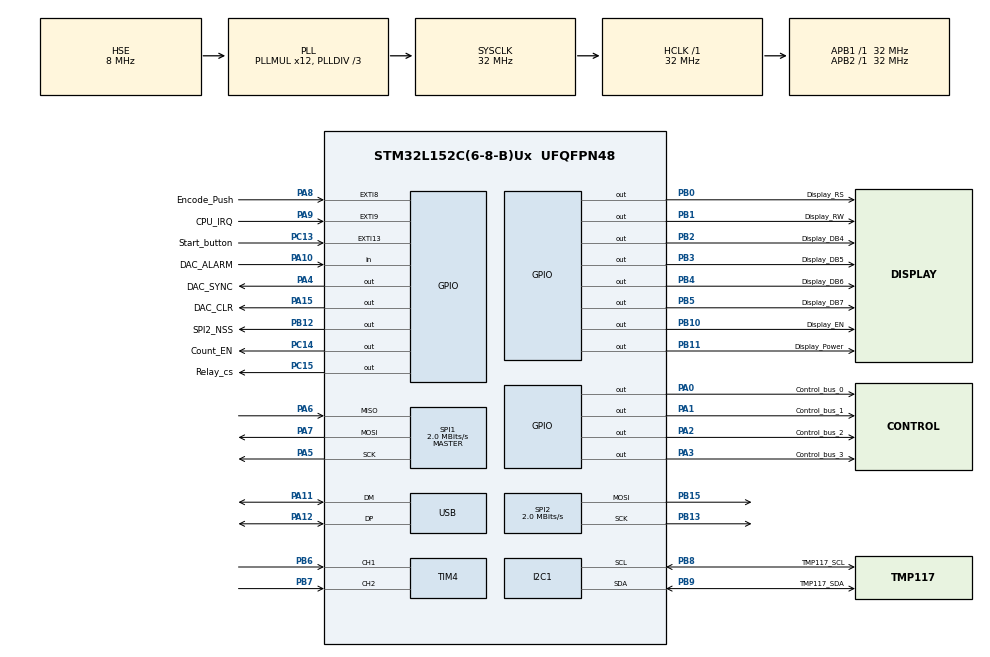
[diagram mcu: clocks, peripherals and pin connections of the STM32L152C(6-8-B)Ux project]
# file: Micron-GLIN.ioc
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Mcu.Family=STM32L1
Mcu.Name=STM32L152C(6-8-B)Ux
Mcu.Package=UFQFPN48
NVIC.EXTI15_10_IRQn=true\:1\:0\:true\:false\:true\:true\:true\:true
NVIC.EXTI9_5_IRQn=true\:0\:0\:true\:true\:true\:1\:true\:true\:true
NVIC.PriorityGroup=NVIC_PRIORITYGROUP_4
NVIC.SPI1_IRQn=true\:1\:0\:true\:false\:true\:true\:true\:true
NVIC.TIM2_IRQn=true\:1\:0\:true\:false\:true\:true\:true\:true
NVIC.TIM3_IRQn=true\:1\:0\:true\:false\:true\:true\:true\:true
NVIC.USB_LP_IRQn=true\:1\:0\:true\:false\:true\:false\:true\:true
PA0-WKUP1.GPIO_Label=Control_bus_0
PA0-WKUP1.GPIO_Speed=GPIO_SPEED_FREQ_VERY_HIGH
PA0-WKUP1.PinState=GPIO_PIN_SET
PA0-WKUP1.Signal=GPIO_Output
PA1.GPIO_Label=Control_bus_1
PA1.GPIO_Speed=GPIO_SPEED_FREQ_VERY_HIGH
PA1.PinState=GPIO_PIN_SET
PA1.Signal=GPIO_Output
PA10.GPIO_Label=DAC_ALARM
PA10.GPIO_PuPd=GPIO_PULLUP
PA10.Signal=GPIO_Input
PA11.Mode=Device
PA11.Signal=USB_DM
PA12.Mode=Device
PA12.Signal=USB_DP
PA13.Mode=Serial_Wire
PA13.Signal=SYS_JTMS-SWDIO
PA14.Mode=Serial_Wire
PA14.Signal=SYS_JTCK-SWCLK
PA15.GPIO_Label=DAC_CLR
PA15.GPIO_Speed=GPIO_SPEED_FREQ_VERY_HIGH
PA15.PinState=GPIO_PIN_SET
PA15.Signal=GPIO_Output
PA2.GPIO_Label=Control_bus_2
PA2.GPIO_Speed=GPIO_SPEED_FREQ_VERY_HIGH
PA2.PinState=GPIO_PIN_SET
PA2.Signal=GPIO_Output
PA3.GPIO_Label=Control_bus_3
PA3.GPIO_Speed=GPIO_SPEED_FREQ_VERY_HIGH
PA3.PinState=GPIO_PIN_SET
PA3.Signal=GPIO_Output
PA4.GPIO_Label=DAC_SYNC
PA4.GPIO_PuPd=GPIO_PULLUP
PA4.GPIO_Speed=GPIO_SPEED_FREQ_VERY_HIGH
PA4.PinState=GPIO_PIN_SET
PA4.Signal=GPIO_Output
PA5.GPIO_Mode=GPIO_MODE_AF_PP
PA5.GPIO_PuPd=GPIO_NOPULL
PA5.GPIO_Speed=GPIO_SPEED_FREQ_VERY_HIGH
PA5.Mode=Full_Duplex_Master
PA5.Signal=SPI1_SCK
PA6.Mode=Full_Duplex_Master
PA6.Signal=SPI1_MISO
PA7.Mode=Full_Duplex_Master
PA7.Signal=SPI1_MOSI
PA8.GPIO_Label=Encode_Push
PA8.GPIO_ModeDefaultEXTI=GPIO_MODE_IT_FALLING
PA8.GPIO_PuPd=GPIO_PULLUP
PA8.Signal=GPXTI8
PA9.GPIO_Label=CPU_IRQ
PA9.Signal=GPXTI9
PB0.GPIO_Label=Display_RS
PB0.GPIO_Speed=GPIO_SPEED_FREQ_HIGH
PB0.PinState=GPIO_PIN_RESET
PB0.Signal=GPIO_Output
PB1.GPIO_Label=Display_RW
PB1.GPIO_ModeDefaultOutputPP=GPIO_MODE_OUTPUT_OD
PB1.GPIO_PuPd=GPIO_NOPULL
PB1.GPIO_Speed=GPIO_SPEED_FREQ_HIGH
PB1.PinState=GPIO_PIN_SET
PB1.Signal=GPIO_Output
PB10.GPIO_Label=Display_EN
PB10.GPIO_ModeDefaultOutputPP=GPIO_MODE_OUTPUT_OD
PB10.GPIO_PuPd=GPIO_NOPULL
PB10.GPIO_Speed=GPIO_SPEED_FREQ_HIGH
PB10.PinState=GPIO_PIN_SET
PB10.Signal=GPIO_Output
PB11.GPIO_Label=Display_Power
PB11.GPIO_ModeDefaultOutputPP=GPIO_MODE_OUTPUT_OD
PB11.GPIO_PuPd=GPIO_NOPULL
PB11.GPIO_Speed=GPIO_SPEED_FREQ_HIGH
PB11.PinState=GPIO_PIN_RESET
PB11.Signal=GPIO_Output
PB12.GPIO_Label=SPI2_NSS
PB12.GPIO_Speed=GPIO_SPEED_FREQ_VERY_HIGH
PB12.PinState=GPIO_PIN_SET
PB12.Signal=GPIO_Output
PB13.Mode=TX_Only_Simplex_Unidirect_Master
PB13.Signal=SPI2_SCK
PB15.Mode=TX_Only_Simplex_Unidirect_Master
PB15.Signal=SPI2_MOSI
PB2.GPIO_Label=Display_DB4
PB2.GPIO_ModeDefaultOutputPP=GPIO_MODE_OUTPUT_OD
PB2.GPIO_PuPd=GPIO_NOPULL
PB2.GPIO_Speed=GPIO_SPEED_FREQ_HIGH
PB2.PinState=GPIO_PIN_SET
PB2.Signal=GPIO_Output
PB3.GPIO_Label=Display_DB5
PB3.GPIO_ModeDefaultOutputPP=GPIO_MODE_OUTPUT_OD
PB3.GPIO_PuPd=GPIO_NOPULL
PB3.GPIO_Speed=GPIO_SPEED_FREQ_HIGH
PB3.PinState=GPIO_PIN_SET
PB3.Signal=GPIO_Output
PB4.GPIO_Label=Display_DB6
PB4.GPIO_ModeDefaultOutputPP=GPIO_MODE_OUTPUT_OD
PB4.GPIO_PuPd=GPIO_NOPULL
PB4.GPIO_Speed=GPIO_SPEED_FREQ_HIGH
PB4.PinState=GPIO_PIN_SET
PB4.Signal=GPIO_Output
PB5.GPIO_Label=Display_DB7
PB5.GPIO_ModeDefaultOutputPP=GPIO_MODE_OUTPUT_OD
PB5.GPIO_PuPd=GPIO_NOPULL
PB5.GPIO_Speed=GPIO_SPEED_FREQ_HIGH
PB5.PinState=GPIO_PIN_SET
PB5.Signal=GPIO_Output
PB6.Signal=S_TIM4_CH1
PB7.Signal=S_TIM4_CH2
PB8.GPIO_Label=TMP117_SCL
PB8.GPIO_Pu=GPIO_PULLUP
PB8.Mode=I2C
PB8.Signal=I2C1_SCL
PB9.GPIO_Label=TMP117_SDA
PB9.GPIO_Pu=GPIO_PULLUP
PB9.Mode=I2C
PB9.Signal=I2C1_SDA
PC13-WKUP2.GPIO_Label=Start_button
PC13-WKUP2.GPIO_ModeDefaultEXTI=GPIO_MODE_IT_FALLING
PC13-WKUP2.GPIO_PuPd=GPIO_PULLUP
PC13-WKUP2.Signal=GPXTI13
PC14-OSC32_IN.GPIO_Label=Count_EN
PC14-OSC32_IN.GPIO_Speed=GPIO_SPEED_FREQ_HIGH
PC14-OSC32_IN.PinState=GPIO_PIN_RESET
PC14-OSC32_IN.Signal=GPIO_Output
PC15-OSC32_OUT.GPIO_Label=Relay_cs
PC15-OSC32_OUT.GPIO_Speed=GPIO_SPEED_FREQ_VERY_HIGH
PC15-OSC32_OUT.PinState=GPIO_PIN_SET
PC15-OSC32_OUT.Signal=GPIO_Output
PH0-OSC_IN.Mode=HSE-External-Oscillator
PH0-OSC_IN.Signal=RCC_OSC_IN
PH1-OSC_OUT.Mode=HSE-External-Oscillator
PH1-OSC_OUT.Signal=RCC_OSC_OUT
ProjectManager.HeapSize=0x1000
ProjectManager.StackSize=0xC00
ProjectManager.TargetToolchain=STM32CubeIDE
RCC.48MHZClocksFreq_Value=48000000
RCC.AHBFreq_Value=32000000
RCC.APB1Freq_Value=32000000
RCC.APB1TimFreq_Value=32000000
RCC.APB2Freq_Value=32000000
RCC.APB2TimFreq_Value=32000000
RCC.HCLKFreq_Value=32000000
RCC.HSE_Timout=100
RCC.HSE_VALUE=8000000
RCC.HSI_VALUE=16000000
RCC.LSE_VALUE=32768
RCC.MSI_VALUE=2097000
RCC.PLLDIV=RCC_PLL_DIV3
RCC.PLLMUL=RCC_PLL_MUL12
RCC.SYSCLKFreq_VALUE=32000000
RCC.SYSCLKSource=RCC_SYSCLKSOURCE_PLLCLK
RCC.VCOOutputFreq_Value=96000000
SH.S_TIM4_CH1.0=TIM4_CH1,Encoder_Interface
SH.S_TIM4_CH2.0=TIM4_CH2,Encoder_Interface
SPI1.BaudRatePrescaler=SPI_BAUDRATEPRESCALER_16
SPI1.CLKPhase=SPI_PHASE_2EDGE
SPI1.CalculateBaudRate=2.0 MBits/s
SPI1.DataSize=SPI_DATASIZE_16BIT
SPI1.Direction=SPI_DIRECTION_2LINES
SPI1.Mode=SPI_MODE_MASTER
SPI1.VirtualType=VM_MASTER
SPI2.BaudRatePrescaler=SPI_BAUDRATEPRESCALER_16
SPI2.CLKPhase=SPI_PHASE_2EDGE
SPI2.CalculateBaudRate=2.0 MBits/s
SPI2.DataSize=SPI_DATASIZE_16BIT
SPI2.Direction=SPI_DIRECTION_2LINES
SPI2.Mode=SPI_MODE_MASTER
SPI2.VirtualType=VM_MASTER
TIM2.Period=50 - 1
TIM2.Prescaler=32000 -1
TIM3.Period=500 -1
TIM3.Prescaler=32000 -1
TIM4.CounterMode=TIM_COUNTERMODE_UP
TIM4.EncoderMode=TIM_ENCODERMODE_TI1
TIM4.IC1Polarity=TIM_ICPOLARITY_RISING
TIM4.IC2Polarity=TIM_ICPOLARITY_FALLING
USB_DEVICE.APP_RX_DATA_SIZE=128
USB_DEVICE.APP_TX_DATA_SIZE=256
USB_DEVICE.CLASS_NAME_FS=CDC
USB_DEVICE.MANUFACTURER_STRING=Micron Service
USB_DEVICE.PRODUCT_STRING_CDC_FS=MicronGLIN
USB_DEVICE.USBD_SELF_POWERED=1
USB_DEVICE.VirtualMode=Cdc
USB_DEVICE.VirtualModeFS=Cdc_FS
VP_TIM2_VS_ClockSourceINT.Mode=Internal
VP_TIM3_VS_ClockSourceINT.Mode=Internal
VP_USB_DEVICE_VS_USB_DEVICE_CDC_FS.Mode=CDC_FS
board=custom

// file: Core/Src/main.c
/* USER CODE BEGIN Header */
/**
 ******************************************************************************
 * @file           : main.c
 * @brief          : Main program body
 ******************************************************************************
 * @attention
 *
 * Copyright (c) 2022 STMicroelectronics.
 * All rights reserved.
 *
 * This software is licensed under terms that can be found in the LICENSE file
 * in the root directory of this software component.
 * If no LICENSE file comes with this software, it is provided AS-IS.
 *
 ******************************************************************************
 */
/* USER CODE END Header */
#include "main.h"
#include "i2c.h"
#include "spi.h"
#include "tim.h"
#include "usb_device.h"
#include "gpio.h"

/* USER CODE BEGIN Includes */

#include <stdio.h>
#include <string.h>

#include "display.h"
#include "tmp117.h"
#include "circular_buffer.h"
#include "function.h"

/* USER CODE END Includes */

/* USER CODE BEGIN PV */

char myLCDstr[32];
//float temperature=10.23;
uint16_t tmpx;

extern uint8_t CDC_Transmit_FS(uint8_t*, uint16_t);
extern void DDS_Init(void);
extern void DDS_Update(void);
extern void DDS_Calculation();
extern void DAC_SendInit(void);
extern void DAC_TEMP_CAL(void);
extern void DAC_Write(uint32_t);
extern void DAC_Write_FAST(void);

extern void Relay_control(uint8_t,uint8_t);
extern void CPLD_control(uint8_t);

extern volatile FunctionalState USB_CDC_End_Line_Received;

extern uint8_t command_buffer[command_buffer_len];

extern float cal_DAC_up_voltage;
extern float cal_DAC_down_voltage;
extern float corr_coeff_1;
extern float corr_coeff_2;
extern float corr_coeff_3;
extern float gain_x2_coeff;
extern float gain_x4_coeff;

extern float C_value[C_value_max_count];
extern float C_leakage[C_value_max_count];

char large_string_buffer[command_buffer_len];

uint8_t eta_hours,eta_minute,eta_second;

int16_t Enc_Counter = 0;
uint32_t Display_timeout=0;

int16_t Need_DAC_TEMP_CAL=0;

CIRC_GBUF_DEF(uint8_t, USB_rx_command_buffer, command_buffer_len);

uint32_t DAC_tx_buffer;
uint16_t DAC_tx_tmp_buffer[2];
DAC_CONFIG1 cfg;

uint8_t CPLD_WORD;
float DDS_FTW=0;
float DDS_target_frequecny;
float DAC_target_speed;
float amp_target_speed=1E-12;
float ramp_target_speed=0.1;
float amp_target_speed_maximum;
float amp_target_speed_minimum;

uint32_t DDS_target_multipiller=1;

uint8_t mode=dU_dt_SCREEN;

float Current_flow=1E-12;
uint8_t C_ref=0;
float Voltage;

float DDS_clock_frequecny=1E7;
float DAC_fullrange_voltage;
float cal_DAC_up_voltage;
float cal_DAC_down_voltage;

uint8_t Current_output_status;

uint32_t DAC_code=0x0;
uint8_t DAC_code_direction;
FunctionalState DAC_code_direction_for_cycle_mode;

FunctionalState Display_need_wakeup=1;
FunctionalState Display_status=0;
FunctionalState Need_update_Display=0;
FunctionalState Need_update_DDS=0;
FunctionalState Ramp_dac_step_complete=0;
FunctionalState CAL_STATE=LOCK_STATE;
FunctionalState Need_off_output=0;
uint8_t Push_start_button=0;
uint8_t Push_Encode_button=0;
uint8_t Hold_start_button=0;

/* USER CODE END PV */

void SystemClock_Config(void);
static void MX_NVIC_Init(void);
/* USER CODE BEGIN PFP */

void Parsing_USB_command(void);

/* USER CODE END PFP */

int main(void)
{
  /* USER CODE BEGIN 1 */
	cfg.PDN=0; // DAC power up
	cfg.VREFVAL=0x08; // 20 V ± 1.25 V
	cfg.FSET=1; // Enhanced THD
	cfg.DSDO=1; // SDO enabled
	cfg.ENALMP=0; // Indicates end of temperature calibration cycle. ALARM pin pulled low
	cfg.FSDO=0; // Fast SDO disabled
	cfg.LDACMODE=0; // DAC *NOT* updated on LDAC !!!!falling edge!!!!
	cfg.TNH_MASK=0x00; // This bit is writable only when FSET = 0
	cfg.EN_TMP_CAL=0; // Temperature calibration feature enabled

	DAC_target_speed=0.1; //  V/s
	DAC_code=DAC_CODE_MIDDLE;
	DAC_code_direction=DIRECTION_UP_STATE;

  /* USER CODE END 1 */

  /* MCU Configuration--------------------------------------------------------*/

  /* Reset of all peripherals, Initializes the Flash interface and the Systick. */
  HAL_Init();

  /* Configure the system clock */
  SystemClock_Config();

  /* Initialize all configured peripherals */
  MX_GPIO_Init();
  MX_SPI1_Init();
  MX_SPI2_Init();
  MX_USB_DEVICE_Init();
  MX_TIM3_Init();
  MX_TIM4_Init();
  MX_I2C1_Init();
  MX_TIM2_Init();

  /* Initialize interrupts */
  MX_NVIC_Init();
  /* USER CODE BEGIN 2 */

	init_LCD();
	/*
  display_screen(Hello_SCREEN);
  LcdUpdate();
  LcdClear_massive();
  HAL_Delay(5000); //WarmUP

  display_screen(Warm_up_SCREEN);
  LcdUpdate();
  LcdClear_massive();
  HAL_Delay(12000); //WarmUP

  display_screen(Ready_SCREEN);
  LcdUpdate();
  LcdClear_massive();
  HAL_Delay(3000); //WarmUP
	 */

	load_data_from_EEPROM();
	TMP117_Initialization(hi2c1);
	DDS_Init();
	DAC_SendInit();
	DAC_Write(DAC_code);

	DAC_TEMP_CAL();

	HAL_TIM_Base_Start_IT(&htim3);
	HAL_TIM_Base_Start_IT(&htim2);
	HAL_TIM_Encoder_Start(&htim4, TIM_CHANNEL_ALL);

	output_state(Output_off_STATE);
	CPLD_control(CPLD_OFF_STATE);

	send_answer_to_CDC(CLEAR_TYPE_1);

	cmd_CAP_SET(C_ref);

  /* USER CODE END 2 */

  /* Infinite loop */
  /* USER CODE BEGIN WHILE */
	while (1)
	{
//----------------------------------------------------------------------------------------------------------

//----------------------------------------------------------------------------------------------------------
		if(USB_CDC_End_Line_Received)
		{
			uint8_t i=0,x=0;
			USB_CDC_End_Line_Received=0;
			while (1) {
				if (i>=command_buffer_len) break;
				if (CIRC_GBUF_POP(USB_rx_command_buffer,&command_buffer[i])) command_buffer[i]='\n';
				if (command_buffer[i]=='\n' || command_buffer[i]=='\r') break;
				i++;
			}
			i=0;
			x=0;
			while (command_buffer[i]!='\0' && i<command_buffer_len)
			{
				if (command_buffer[i]=='\177') // Backspace
				{
					if(x>0)x--;
				}
				else
				{
					command_buffer[x]=command_buffer[i];
					x++;
				}
				i++;
			}
			while (x<command_buffer_len)
			{
				command_buffer[x]='\0';
				x++;
			}
			command_buffer[command_buffer_len-1]='\0';

			Parsing_USB_command();
			if(Display_status==0)Display_need_wakeup=1;
		}
//----------------------------------------------------------------------------------------------------------

//----------------------------------------------------------------------------------------------------------
		if(Need_DAC_TEMP_CAL>=6000 && Current_output_status==Output_off_STATE) // Each 5 min, do DAC temperature calibration, if output is off
		{
			DAC_TEMP_CAL();
			Need_DAC_TEMP_CAL=0;
		}
//----------------------------------------------------------------------------------------------------------

//----------------------------------------------------------------------------------------------------------
		if(Need_update_DDS)
		{
			if(Ramp_dac_step_complete)
			{
				DDS_Update();
				Need_update_DDS=0;
				Ramp_dac_step_complete=0;
			}
			if(mode==AMP_SCREEN)
			{
				Recalculate_ramp_speed(AMP_SCREEN,amp_target_speed);
			}
			else
			{
				DDS_Calculation();
			}

		}
//----------------------------------------------------------------------------------------------------------

//----------------------------------------------------------------------------------------------------------
		if(Need_off_output==1)
		{
			Push_start_button=10;
			cmd_SWEEP_STOP();
			output_state(Output_off_STATE);
			Need_off_output=0;
		}
//----------------------------------------------------------------------------------------------------------

//----------------------------------------------------------------------------------------------------------

		if(Push_Encode_button>2 && Push_Encode_button<5)
		{
			mode++;
			if(mode>DIR_SELECT_SCREEN)
				mode=dU_dt_SCREEN;
			Push_Encode_button=5;
		}

		if(Push_start_button>2 && Push_start_button<10)
		{
			if(mode==VOLT_SCREEN)
			{
				if(Current_output_status==Output_off_STATE)
				{
					cmd_SET_OUTPUT_VOLTAGE(Voltage);
				}
				else
				{
					output_state(Output_off_STATE);
				}
			}
			else
			{
				if(cfg.LDACMODE==0)
				{
					cmd_SWEEP_START();
				}
				else
				{
					cmd_SWEEP_STOP();
				}
			}
			Push_start_button=10;
		}
//----------------------------------------------------------------------------------------------------------

//----------------------------------------------------------------------------------------------------------
		if(Need_update_Display && Display_status)
		{
			switch(mode)
			{
			//----------------------------------------------------------//
			case dU_dt_SCREEN:
				display_screen(dU_dt_SCREEN);
			break;
			case AMP_SCREEN:
				display_screen(AMP_SCREEN);
			break;
			case VOLT_SCREEN:
				display_screen(VOLT_SCREEN);
			break;
			case DIR_SELECT_SCREEN:
				display_screen(DIR_SELECT_SCREEN);
			break;
			case CAP_SELECT_SCREEN:
				display_screen(CAP_SELECT_SCREEN);
			break;
			}
			LcdUpdate();
			LcdClear_massive();
		}
//----------------------------------------------------------------------------------------------------------

//----------------------------------------------------------------------------------------------------------
		if(Enc_Counter!=0)
		{
		switch(mode)
		{
		//----------------------------------------------------------//
		case dU_dt_SCREEN:
		{
			if(Enc_Counter>2 || Enc_Counter<-2)
			{
				Recalculate_ramp_speed(dU_dt_SCREEN, round((ramp_target_speed+Enc_Counter*1E-2)*1E2)/1E2);
			}
			else
			{
				Recalculate_ramp_speed(dU_dt_SCREEN, round((ramp_target_speed+Enc_Counter*1E-3)*1E3)/1E3);
			}
			Enc_Counter=0;
			if(Current_output_status!=Output_off_STATE && cfg.LDACMODE==0)output_state(Output_auto_STATE);
		}
		break;
		case AMP_SCREEN:
			{
				uint8_t Ei,Eix;
				float amp_target_speed_maximum_tmp=amp_target_speed_maximum;
				float amp_target_speed_tmp=amp_target_speed;
				for(Ei=1;Ei<21;Ei++)
				{
					amp_target_speed_maximum_tmp*=10;
					amp_target_speed_tmp*=10;
					if(amp_target_speed_maximum_tmp>=1)
						break;
				}
				if(Enc_Counter>2 || Enc_Counter<-2)
				{
					amp_target_speed_tmp*=100;
					amp_target_speed_tmp+=Enc_Counter;
					amp_target_speed_tmp=round(amp_target_speed_tmp);
					amp_target_speed_tmp/=100;
				}
				else
				{
					amp_target_speed_tmp*=1000;
					amp_target_speed_tmp+=Enc_Counter;
					amp_target_speed_tmp=round(amp_target_speed_tmp);
					amp_target_speed_tmp/=1000 ;
				}
				for(Eix=Ei;Eix>0;Eix--)
				{
					amp_target_speed_tmp/=10;
				}

				Recalculate_ramp_speed(AMP_SCREEN, amp_target_speed_tmp);
			}
			Enc_Counter=0;
			if(Current_output_status!=Output_off_STATE && cfg.LDACMODE==0)output_state(Output_auto_STATE);
		break;
		case CAP_SELECT_SCREEN:
			C_ref+=Enc_Counter;
			if(C_ref>C_value_max_count)C_ref=0;
			cmd_CAP_SET(C_ref);
			Enc_Counter=0;
		break;
		case DIR_SELECT_SCREEN:
			DAC_code_direction+=Enc_Counter;
			if(DAC_code_direction>DIRECTION_CYCLE_STATE)
				DAC_code_direction=DIRECTION_DOWN_STATE;
			Enc_Counter=0;
			if(cfg.LDACMODE==0)cmd_SWEEP_STOP();
		break;
		case VOLT_SCREEN:
			if(Enc_Counter>4 || Enc_Counter<-4)
			{
				cmd_SET_OUTPUT_VOLTAGE(round((calculate_output_voltage()+Enc_Counter*1E-1)*1E1)/1E1);
			}
			else
			{
				cmd_SET_OUTPUT_VOLTAGE(round((calculate_output_voltage()+Enc_Counter*1E-3)*1E3)/1E3);
			}
			Enc_Counter=0;
		break;
		}
		}
		//----------------------------------------------------------------------------------------------------------

		//----------------------------------------------------------------------------------------------------------
		if(Display_need_wakeup)
		{
			Display_need_wakeup=0;
			Poweron_LCD();
			Display_timeout=0;
			Need_update_Display=1;
		} else
		{
			if(Display_status==1) // If display on
			{
				// 1 hour timeout if output is off
				// 1 day timeout if output is on
				if((Display_timeout>72000 && Current_output_status==Output_off_STATE) || (Display_timeout>1728000 && Current_output_status!=Output_off_STATE))
				{
					Poweroff_LCD();
					Display_timeout=0;
				}
			} else Display_timeout=0;
		}

    /* USER CODE END WHILE */

	}
}

void SystemClock_Config(void)
{
  RCC_OscInitTypeDef RCC_OscInitStruct = {0};
  RCC_ClkInitTypeDef RCC_ClkInitStruct = {0};

  /** Configure the main internal regulator output voltage
  */
  __HAL_PWR_VOLTAGESCALING_CONFIG(PWR_REGULATOR_VOLTAGE_SCALE1);

  /** Initializes the RCC Oscillators according to the specified parameters
  * in the RCC_OscInitTypeDef structure.
  */
  RCC_OscInitStruct.OscillatorType = RCC_OSCILLATORTYPE_HSE;
  RCC_OscInitStruct.HSEState = RCC_HSE_ON;
  RCC_OscInitStruct.PLL.PLLState = RCC_PLL_ON;
  RCC_OscInitStruct.PLL.PLLSource = RCC_PLLSOURCE_HSE;
  RCC_OscInitStruct.PLL.PLLMUL = RCC_PLL_MUL12;
  RCC_OscInitStruct.PLL.PLLDIV = RCC_PLL_DIV3;
  if (HAL_RCC_OscConfig(&RCC_OscInitStruct) != HAL_OK)
  {
    Error_Handler();
  }

  /** Initializes the CPU, AHB and APB buses clocks
  */
  RCC_ClkInitStruct.ClockType = RCC_CLOCKTYPE_HCLK|RCC_CLOCKTYPE_SYSCLK
                              |RCC_CLOCKTYPE_PCLK1|RCC_CLOCKTYPE_PCLK2;
  RCC_ClkInitStruct.SYSCLKSource = RCC_SYSCLKSOURCE_PLLCLK;
  RCC_ClkInitStruct.AHBCLKDivider = RCC_SYSCLK_DIV1;
  RCC_ClkInitStruct.APB1CLKDivider = RCC_HCLK_DIV1;
  RCC_ClkInitStruct.APB2CLKDivider = RCC_HCLK_DIV1;

  if (HAL_RCC_ClockConfig(&RCC_ClkInitStruct, FLASH_LATENCY_1) != HAL_OK)
  {
    Error_Handler();
  }
}

/**
  * @brief NVIC Configuration.
  * @retval None
  */
static void MX_NVIC_Init(void)
{
  /* EXTI9_5_IRQn interrupt configuration */
  HAL_NVIC_SetPriority(EXTI9_5_IRQn, 0, 0);
  HAL_NVIC_EnableIRQ(EXTI9_5_IRQn);
}

/* USER CODE BEGIN 4 */
//==============================================================================================

// Callback: timer has rolled over
void HAL_TIM_PeriodElapsedCallback(TIM_HandleTypeDef *htim)
{
	if (htim == &htim3 )// INL correction, each 500ms
	{
		if(cfg.LDACMODE==1)Need_update_DDS=1;
	}

	if (htim == &htim2 )//User interface workload, each 50ms
	{
		Need_update_Display=1;
		Display_timeout++;
		if(Push_start_button!=0)Push_start_button++;
		if(Push_start_button>40)Push_start_button=0;

		if(Push_Encode_button!=0)Push_Encode_button++;
		if(Push_Encode_button>15)Push_Encode_button=0;

		if(Current_output_status==Output_off_STATE)
			Need_DAC_TEMP_CAL++;

		Enc_Counter+=((int16_t)TIM4->CNT)/2;
		TIM4->CNT = (uint16_t)(((int16_t)TIM4->CNT) % 2);
		if(!HAL_GPIO_ReadPin(Start_button_GPIO_Port, Start_button_Pin))
		{
			Hold_start_button++;
		}
		else
		{
			Hold_start_button=0;
		}
		if(Hold_start_button>60)
		{
			Need_off_output=1;
		}

	}

}

/**
 * @brief EXTI line detection callbacks
 * @param GPIO_Pin: Specifies the pins connected EXTI line
 * @retval None
 */
//==============================================================================================
__RAM_FUNC void HAL_GPIO_EXTI_Callback(uint16_t GPIO_Pin)
{
	if(GPIO_Pin == CPU_IRQ_Pin) // CPU_IRQ signal from Timebase CPLD
	{
		DAC_Write_FAST(); // Сначала стреляем, а потом уже разговариваем
		Ramp_dac_step_complete=1;

		switch(DAC_code_direction)
		{
		//----------------------------------------------------------//
		case DIRECTION_UP_STATE:
			if(DAC_code<=(DAC_CODE_TOP-DDS_target_multipiller))
			{
				DAC_code+=DDS_target_multipiller;
			} else  {
				CPLD_control(CPLD_OFF_STATE); // Disable LDAC signal
				DAC_SendInit();
				DAC_Write(DAC_CODE_DOWN);
				//send_answer_to_CDC(DONE_TYPE_1);
				return;
			}
			break;

		case DIRECTION_DOWN_STATE:
			if(DAC_code>=DDS_target_multipiller)
			{
				DAC_code-=DDS_target_multipiller;
			} else {
				CPLD_control(CPLD_OFF_STATE); // Disable LDAC signal
				DAC_SendInit();
				DAC_Write(DAC_CODE_TOP);
				//send_answer_to_CDC(DONE_TYPE_1);
				return;
			}
			break;

		case DIRECTION_CYCLE_STATE:
			if(DAC_code_direction_for_cycle_mode == 1)
			{
				if(DAC_code<=(0xFFFFF-DDS_target_multipiller))
				{
					DAC_code+=DDS_target_multipiller;
				} else  DAC_code_direction_for_cycle_mode=0;
			} else
			{
				if(DAC_code>=DDS_target_multipiller)
				{
					DAC_code-=DDS_target_multipiller;
				} else DAC_code_direction_for_cycle_mode=1;
			}
			break;
		}
		DAC_tx_buffer=0x01000000; // Write DAC-DATA
		DAC_tx_buffer+=(DAC_code & 0xFFFFF)<<4;
		DAC_tx_tmp_buffer[0]=(DAC_tx_buffer & 0xFFFF0000)>>16;
		DAC_tx_tmp_buffer[1]=(DAC_tx_buffer & 0x0000FFFF);
	}

	if((GPIO_Pin == Start_button_Pin) || (GPIO_Pin == Encode_Push_Pin))Display_need_wakeup=1;

	if(GPIO_Pin == Encode_Push_Pin)
		if(Push_Encode_button==0)Push_Encode_button=1;

	if(GPIO_Pin == Start_button_Pin)
		if(Push_start_button==0)Push_start_button=1;
}

void Parsing_USB_command(void)
{
	//char *found;
	char decoded_string_1[command_buffer_len];
	char decoded_string_2[command_buffer_len];
	int num_of_cap;
	float f_value,f_value2;
	uint8_t cdc_counter=0;

	if(sscanf((char *)command_buffer,"%s", decoded_string_1)!=1)
	{
		send_answer_to_CDC(ERROR_TYPE_1);
		return;
	}

	// ==== SWEEP command ====
	if(!(strcmp(decoded_string_1,"SWEEP")))
	{
		if(sscanf((char *)command_buffer,"%s %s", decoded_string_1, decoded_string_2)!=2)
		{
			send_answer_to_CDC(ERROR_TYPE_2);
			return;
		}

		if(!(strcmp(decoded_string_2,"START")))
		{
			cmd_SWEEP_START();
			if(mode==VOLT_SCREEN)mode=dU_dt_SCREEN;
			send_answer_to_CDC(OK_TYPE_2);
			return;
		}
		else
		{
			if(!(strcmp(decoded_string_2,"STOP")))
			{
				cmd_SWEEP_STOP();
				send_answer_to_CDC(OK_TYPE_2);
				return;
			}
			else
			{
				send_answer_to_CDC(ERROR_TYPE_1);
				return;
			}

		}
	}
	// ==== CAP_SET command ====
	if(!(strcmp(decoded_string_1,"CAP_SET")))
	{
		if(sscanf((char *)command_buffer,"%s %d", decoded_string_1, &num_of_cap)!=2)
			{
				send_answer_to_CDC(ERROR_TYPE_2);
				return;
			}

			if(cmd_CAP_SET(num_of_cap))
			{
				send_answer_to_CDC(OK_TYPE_2);
				return;
			}
			else
			{
				send_answer_to_CDC(ERROR_TYPE_2);
				return;
			}
	}

	// ==== DAC_SET command ====
	if(!(strcmp(decoded_string_1,"DAC_SET")))
	{
		if(sscanf((char *)command_buffer,"%s %s", decoded_string_1, decoded_string_2)!=2)
		{
			send_answer_to_CDC(ERROR_TYPE_2);
			return;
		}

		if(!(strcmp(decoded_string_2,"TOP"))){
			cmd_DAC_SET(DAC_CODE_TOP);
			send_answer_to_CDC(OK_TYPE_2);
			return;
		}
		else
		{
			if(!(strcmp(decoded_string_2,"DOWN"))){
				cmd_DAC_SET(DAC_CODE_DOWN);
				send_answer_to_CDC(OK_TYPE_2);
				return;
			}
			else
			{
				if(sscanf((char *)command_buffer,"%s %f", decoded_string_1, &f_value)!=2)
				{
					send_answer_to_CDC(ERROR_TYPE_2);
					return;
				}

				if(cmd_SET_OUTPUT_VOLTAGE(f_value))
				{
					mode=VOLT_SCREEN;
					send_answer_to_CDC(OK_TYPE_2);
					return;
				}
				else
				{
					send_answer_to_CDC(ERROR_TYPE_2);
					return;
				}
			}

		}
	}

	// ==== OUTPUT command ====
	if(!(strcmp(decoded_string_1,"OUTPUT")))
	{
		if(sscanf((char *)command_buffer,"%s %s", decoded_string_1, decoded_string_2)!=2)
		{
			send_answer_to_CDC(ERROR_TYPE_2);
			return;
		}

		if(!(strcmp(decoded_string_2,"OFF"))){
			output_state(Output_off_STATE);
			send_answer_to_CDC(OK_TYPE_2);
			return;
		}
		else
		{
			if(!(strcmp(decoded_string_2,"X1"))){
				output_state(Output_x1_STATE);
				send_answer_to_CDC(OK_TYPE_2);
				return;
			}
			else
			{
				if(!(strcmp(decoded_string_2,"X2"))){
					output_state(Output_x2_STATE);
					send_answer_to_CDC(OK_TYPE_2);
					return;
				}
				else
				{
					if(!(strcmp(decoded_string_2,"X4"))){
						output_state(Output_x4_STATE);
						send_answer_to_CDC(OK_TYPE_2);
						return;
					}
					else
					{
						send_answer_to_CDC(ERROR_TYPE_2);
						return;
					}
				}
			}
		}
	}

	// ==== CAL_STATE command ====
	if(!(strcmp(decoded_string_1,"CAL_STATE")))
	{
		if(sscanf((char *)command_buffer,"%s %s", decoded_string_1, decoded_string_2)!=2)
		{
			send_answer_to_CDC(ERROR_TYPE_2);
			return;
		}

		if(!(strcmp(decoded_string_2,"UNLOCK"))){
			CAL_STATE=UNLOCK_STATE;
			send_answer_to_CDC(OK_TYPE_2);
			return;
		}
		else
		{
			if(!(strcmp(decoded_string_2,"LOCK"))){
				CAL_STATE=LOCK_STATE;
				send_answer_to_CDC(OK_TYPE_2);
				return;
			}
			else
			{
				send_answer_to_CDC(ERROR_TYPE_2);
				return;
			}
		}
	}

	// ==== DAC_CAL_TEMP command ====
	if(!(strcmp(decoded_string_1,"DAC_CAL_TEMP")))
	{
		if(sscanf((char *)command_buffer,"%s %s", decoded_string_1, decoded_string_2)!=2)
		{
			send_answer_to_CDC(ERROR_TYPE_2);
			return;
		}

		if(!(strcmp(decoded_string_2,"START"))){
			send_answer_to_CDC(RUN_CAL_TYPE_TEMP);
			cmd_CAL(DAC_CAL_TEMP,NONE);
			send_answer_to_CDC(OK_TYPE_1);
			return;
		}
		else
		{
			send_answer_to_CDC(ERROR_TYPE_1);
			return;
		}
	}

	// ==== DAC_CAL_POLY_A command ====
	if(!(strcmp(decoded_string_1,"DAC_CAL_POLY_A")))
	{
		if(sscanf((char *)command_buffer,"%s %f", decoded_string_1, &f_value)!=2)
		{
			send_answer_to_CDC(ERROR_TYPE_2);
			return;
		}

		cmd_CAL(DAC_CAL_POLY_A,f_value);
		send_answer_to_CDC(OK_TYPE_2);
		return;
	}

	// ==== DAC_CAL_POLY_B command ====
	if(!(strcmp(decoded_string_1,"DAC_CAL_POLY_B")))
	{
		if(sscanf((char *)command_buffer,"%s %f", decoded_string_1, &f_value)!=2)
		{
			send_answer_to_CDC(ERROR_TYPE_2);
			return;
		}

		cmd_CAL(DAC_CAL_POLY_B,f_value);
		send_answer_to_CDC(OK_TYPE_2);
		return;
	}

	// ==== DAC_CAL_POLY_C command ====
	if(!(strcmp(decoded_string_1,"DAC_CAL_POLY_C")))
	{
		if(sscanf((char *)command_buffer,"%s %f", decoded_string_1, &f_value)!=2)
		{
			send_answer_to_CDC(ERROR_TYPE_2);
			return;
		}

		cmd_CAL(DAC_CAL_POLY_C,f_value);
		send_answer_to_CDC(OK_TYPE_2);
		return;
	}

	// ==== GAIN_X2_CAL command ====
	if(!(strcmp(decoded_string_1,"GAIN_X2_CAL")))
	{
		if(sscanf((char *)command_buffer,"%s %f", decoded_string_1, &f_value)!=2)
		{
			send_answer_to_CDC(ERROR_TYPE_2);
			return;
		}

		if(cmd_CAL(GAIN_X2_CAL,f_value))
		{
			send_answer_to_CDC(OK_TYPE_2);
			return;
		}
		else
		{
			send_answer_to_CDC(ERROR_TYPE_2);
			return;
		}
	}

	// ==== GAIN_X4_CAL command ====
	if(!(strcmp(decoded_string_1,"GAIN_X4_CAL")))
	{
		if(sscanf((char *)command_buffer,"%s %f", decoded_string_1, &f_value)!=2)
		{
			send_answer_to_CDC(ERROR_TYPE_2);
			return;
		}

		if(cmd_CAL(GAIN_X4_CAL,f_value))
		{
			send_answer_to_CDC(OK_TYPE_2);
			return;
		}
		else
		{
			send_answer_to_CDC(ERROR_TYPE_2);
			return;
		}
	}

	// ==== DAC_CAL_TOP command ====
	if(!(strcmp(decoded_string_1,"DAC_CAL_TOP")))
	{
		if(sscanf((char *)command_buffer,"%s %f", decoded_string_1, &f_value)!=2)
		{
			send_answer_to_CDC(ERROR_TYPE_2);
			return;
		}

		if(cmd_CAL(DAC_CAL_TOP,f_value))
		{
			send_answer_to_CDC(OK_TYPE_2);
			return;
		}
		else
		{
			send_answer_to_CDC(ERROR_TYPE_2);
			return;
		}
	}

	// ==== DAC_CAL_DOWN command ====
	if(!(strcmp(decoded_string_1,"DAC_CAL_DOWN")))
	{
		if(sscanf((char *)command_buffer,"%s %f", decoded_string_1, &f_value)!=2)
		{
			send_answer_to_CDC(ERROR_TYPE_2);
			return;
		}

		if(cmd_CAL(DAC_CAL_DOWN,f_value))
		{
			send_answer_to_CDC(OK_TYPE_2);
			return;
		}
		else
		{
			send_answer_to_CDC(ERROR_TYPE_2);
			return;
		}
	}

	// ==== CAL_C_VALUE command ====
	if(!(strcmp(decoded_string_1,"CAL_C_VALUE")))
	{
		if(sscanf((char *)command_buffer,"%s %d %f %f", decoded_string_1, &num_of_cap, &f_value, &f_value2)!=4)
		{
			send_answer_to_CDC(ERROR_TYPE_2);
			return;
		}
		if(CAL_STATE!=LOCK_STATE)
		{
			write_c_value_to_EEPROM(num_of_cap, f_value, f_value2);
			send_answer_to_CDC(OK_TYPE_2);
			return;
		}
		else
		{
			send_answer_to_CDC(ERROR_TYPE_2);
			return;
		}
	}

	// ==== SWEEP_RATE command ====
	if(!(strcmp(decoded_string_1,"SWEEP_RATE")))
	{
		if(sscanf((char *)command_buffer,"%s %s %f", decoded_string_1, decoded_string_2, &f_value)!=3)
		{
			send_answer_to_CDC(ERROR_TYPE_1);
			return;
		}
		if(!(strcmp(decoded_string_2,"AMP")))
		{
			if(Recalculate_ramp_speed(AMP_SCREEN, f_value)==ret_OK)
			{
				send_answer_to_CDC(OK_TYPE_2);
				return;
			}
			else
			{
				send_answer_to_CDC(ERROR_TYPE_2);
				return;
			}
		}
		else
		{
			if(Recalculate_ramp_speed(dU_dt_SCREEN, f_value)==ret_OK)
			{
				send_answer_to_CDC(OK_TYPE_2);
				return;
			}
			else
			{
				send_answer_to_CDC(ERROR_TYPE_2);
				return;
			}
		}
	}

	// ==== SHOW command ====
	if(!(strcmp(decoded_string_1,"SHOW")))
	{

		if(sscanf((char *)command_buffer,"%s %s", decoded_string_1, decoded_string_2)!=2)
		{
			send_answer_to_CDC(ERROR_TYPE_2);
			return;
		}

		if(!(strcmp(decoded_string_2,"INFO"))){
			sprintf((char *)large_string_buffer,"\n\rDAC 0xFFFFF voltage calibration constant: %1.6E\n\r",cal_DAC_up_voltage);while((CDC_Transmit_FS((uint8_t *)large_string_buffer, strlen((const char *)large_string_buffer))!=USBD_OK)&&cdc_counter<0xFF)cdc_counter++;
			sprintf((char *)large_string_buffer,"DAC 0x00000 voltage calibration constant: %1.6E\n\r",cal_DAC_down_voltage);while((CDC_Transmit_FS((uint8_t *)large_string_buffer, strlen((const char *)large_string_buffer))!=USBD_OK)&&cdc_counter<0xFF)cdc_counter++;
			sprintf((char *)large_string_buffer,"Linearity correction A: %1.6E\n\r",corr_coeff_1);while((CDC_Transmit_FS((uint8_t *)large_string_buffer, strlen((const char *)large_string_buffer))!=USBD_OK)&&cdc_counter<0xFF)cdc_counter++;
			sprintf((char *)large_string_buffer,"Linearity correction B: %1.6E\n\r",corr_coeff_2);while((CDC_Transmit_FS((uint8_t *)large_string_buffer, strlen((const char *)large_string_buffer))!=USBD_OK)&&cdc_counter<0xFF)cdc_counter++;
			sprintf((char *)large_string_buffer,"Linearity correction C: %1.6E\n\r",corr_coeff_3);while((CDC_Transmit_FS((uint8_t *)large_string_buffer, strlen((const char *)large_string_buffer))!=USBD_OK)&&cdc_counter<0xFF)cdc_counter++;
			sprintf((char *)large_string_buffer,"LT5400 gain X2 correction: %1.6E\n\r",gain_x2_coeff);while((CDC_Transmit_FS((uint8_t *)large_string_buffer, strlen((const char *)large_string_buffer))!=USBD_OK)&&cdc_counter<0xFF)cdc_counter++;
			sprintf((char *)large_string_buffer,"LT5400 gain X4 correction: %1.6E\n\r",gain_x4_coeff);while((CDC_Transmit_FS((uint8_t *)large_string_buffer, strlen((const char *)large_string_buffer))!=USBD_OK)&&cdc_counter<0xFF)cdc_counter++;
			for(uint8_t i=0;i<C_value_max_count;i++)
			{
				sprintf((char *)large_string_buffer,"C%d capacitance: %1.6EpF, leakage: %1.6EA/V\n\r",(int)i,C_value[i],C_leakage[i]);while((CDC_Transmit_FS((uint8_t *)large_string_buffer, strlen((const char *)large_string_buffer))!=USBD_OK)&&cdc_counter<0xFF)cdc_counter++;
			}
			sprintf((char *)large_string_buffer,"\n\rDAC code: 0x%x\n\r",(unsigned int)DAC_code);while((CDC_Transmit_FS((uint8_t *)large_string_buffer, strlen((const char *)large_string_buffer))!=USBD_OK)&&cdc_counter<0xFF)cdc_counter++;
			sprintf((char *)large_string_buffer,"DDS FTW: 0x%x\n\r",(unsigned int)DDS_FTW);while((CDC_Transmit_FS((uint8_t *)large_string_buffer, strlen((const char *)large_string_buffer))!=USBD_OK)&&cdc_counter<0xFF)cdc_counter++;
			sprintf((char *)large_string_buffer,"CPLD control word: 0x%x\n\r",CPLD_WORD);while((CDC_Transmit_FS((uint8_t *)large_string_buffer, strlen((const char *)large_string_buffer))!=USBD_OK)&&cdc_counter<0xFF)cdc_counter++;
			sprintf((char *)large_string_buffer,"Output mode: 0x%x\n\r",Current_output_status);while((CDC_Transmit_FS((uint8_t *)large_string_buffer, strlen((const char *)large_string_buffer))!=USBD_OK)&&cdc_counter<0xFF)cdc_counter++;
			sprintf((char *)large_string_buffer,"Sweep rate: %1.6EV/s\n\r",ramp_target_speed);while((CDC_Transmit_FS((uint8_t *)large_string_buffer, strlen((const char *)large_string_buffer))!=USBD_OK)&&cdc_counter<0xFF)cdc_counter++;
			sprintf((char *)large_string_buffer,"Current rate: %1.6EA\n\r",amp_target_speed);while((CDC_Transmit_FS((uint8_t *)large_string_buffer, strlen((const char *)large_string_buffer))!=USBD_OK)&&cdc_counter<0xFF)cdc_counter++;
			sprintf((char *)large_string_buffer,"Selected reference capacitor: 0x%x\n\r",C_ref);while((CDC_Transmit_FS((uint8_t *)large_string_buffer, strlen((const char *)large_string_buffer))!=USBD_OK)&&cdc_counter<0xFF)cdc_counter++;
			sprintf((char *)large_string_buffer,"Temperature: %2.3f°C\n\r",TMP117_get_Temperature(hi2c1)*0.0078125);while((CDC_Transmit_FS((uint8_t *)large_string_buffer, strlen((const char *)large_string_buffer))!=USBD_OK)&&cdc_counter<0xFF)cdc_counter++;
			send_answer_to_CDC(OK_TYPE_2);
			return;
		}
		else
		{
			if(!(strcmp(decoded_string_2,"HELP_EXTENDED"))){
				send_answer_to_CDC(EXTENDED_HELP);
				return;
			}
			else
			{
				send_answer_to_CDC(ERROR_TYPE_1);
				return;
			}
		}
	}

	// ==== SWEEP_DIRECTION command ====
	if(!(strcmp(decoded_string_1,"SWEEP_DIRECTION")))
	{
		if(sscanf((char *)command_buffer,"%s %s", decoded_string_1, decoded_string_2)!=2)
		{
			send_answer_to_CDC(ERROR_TYPE_2);
			return;
		}

		if(!(strcmp(decoded_string_2,"UP"))){
			DAC_code_direction=DIRECTION_UP_STATE;
			send_answer_to_CDC(OK_TYPE_2);
			return;
		}
		else
		{
			if(!(strcmp(decoded_string_2,"DOWN"))){
				DAC_code_direction=DIRECTION_DOWN_STATE;
				send_answer_to_CDC(OK_TYPE_2);
				return;
			}
			else
			{
				if(!(strcmp(decoded_string_2,"CYCLE"))){
					DAC_code_direction=DIRECTION_CYCLE_STATE;
					send_answer_to_CDC(OK_TYPE_2);
					return;
				}
				else
				{
					send_answer_to_CDC(ERROR_TYPE_1);
					return;
				}
			}
		}
	}

	send_answer_to_CDC(ERROR_TYPE_1);
	return;
}

void Write_to_circ_buffer(uint8_t Buf)
{
	if(CIRC_GBUF_PUSH(USB_rx_command_buffer, &Buf))	CIRC_GBUF_FLUSH(USB_rx_command_buffer); // If out of space, something wrong, clean all !!!
}

//==============================================================================================
/* USER CODE END 4 */

void Error_Handler(void)
{
	__disable_irq();
	while (1)
	{
	}
}
